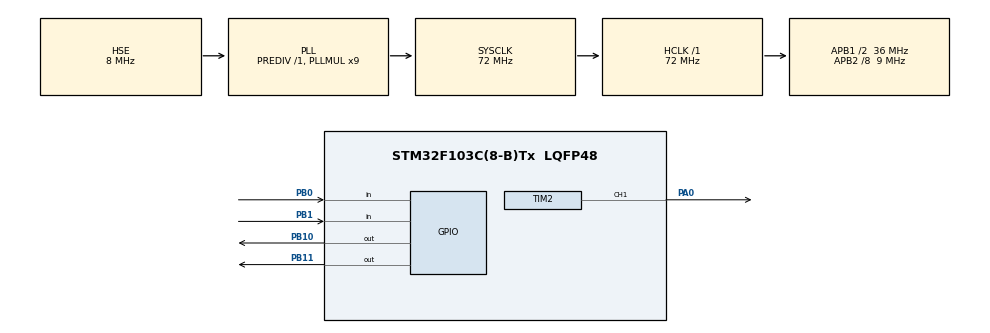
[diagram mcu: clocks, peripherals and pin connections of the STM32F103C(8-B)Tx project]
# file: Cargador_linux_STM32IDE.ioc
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Mcu.Family=STM32F1
Mcu.Name=STM32F103C(8-B)Tx
Mcu.Package=LQFP48
NVIC.PriorityGroup=NVIC_PRIORITYGROUP_4
NVIC.TIM2_IRQn=true\:0\:0\:false\:false\:true\:true\:true
PA0-WKUP.GPIO_ModeDefaultPP=GPIO_MODE_AF_PP
PA0-WKUP.GPIO_Speed=GPIO_SPEED_FREQ_LOW
PA0-WKUP.Signal=S_TIM2_CH1_ETR
PA13.Mode=Serial_Wire
PA13.Signal=SYS_JTMS-SWDIO
PA14.Mode=Serial_Wire
PA14.Signal=SYS_JTCK-SWCLK
PB0.GPIO_PuPd=GPIO_PULLUP
PB0.Signal=GPIO_Input
PB1.GPIO_PuPd=GPIO_PULLUP
PB1.Signal=GPIO_Input
PB10.Signal=GPIO_Output
PB11.Signal=GPIO_Output
PD0-OSC_IN.Mode=HSE-External-Oscillator
PD0-OSC_IN.Signal=RCC_OSC_IN
PD1-OSC_OUT.Mode=HSE-External-Oscillator
PD1-OSC_OUT.Signal=RCC_OSC_OUT
ProjectManager.HeapSize=0x200
ProjectManager.StackSize=0x400
ProjectManager.TargetToolchain=STM32CubeIDE
RCC.AHBFreq_Value=72000000
RCC.APB1CLKDivider=RCC_HCLK_DIV2
RCC.APB1Freq_Value=36000000
RCC.APB1TimFreq_Value=72000000
RCC.APB2CLKDivider=RCC_HCLK_DIV8
RCC.APB2Freq_Value=9000000
RCC.APB2TimFreq_Value=18000000
RCC.HCLKFreq_Value=72000000
RCC.PLLMUL=RCC_PLL_MUL9
RCC.PLLSourceVirtual=RCC_PLLSOURCE_HSE
RCC.SYSCLKFreq_VALUE=72000000
RCC.SYSCLKSource=RCC_SYSCLKSOURCE_PLLCLK
RCC.USBFreq_Value=72000000
SH.S_TIM2_CH1_ETR.0=TIM2_CH1,PWM Generation1 CH1
TIM2.AutoReloadPreload=TIM_AUTORELOAD_PRELOAD_DISABLE
TIM2.Channel-PWM\ Generation1\ CH1=TIM_CHANNEL_1
TIM2.OCFastMode_PWM-PWM\ Generation1\ CH1=TIM_OCFAST_ENABLE
TIM2.Period=4-1
TIM2.Prescaler=18-1
TIM2.Pulse-PWM\ Generation1\ CH1=2
VP_TIM2_VS_ClockSourceINT.Mode=Internal
board=custom

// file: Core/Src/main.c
/* USER CODE BEGIN Header */
/**
  ******************************************************************************
  * @file           : main.c
  * @brief          : Main program body
  ******************************************************************************
  * @attention
  *
  * <h2><center>&copy; Copyright (c) 2020 STMicroelectronics.
  * All rights reserved.</center></h2>
  *
  * This software component is licensed by ST under BSD 3-Clause license,
  * the "License"; You may not use this file except in compliance with the
  * License. You may obtain a copy of the License at:
  *                        opensource.org/licenses/BSD-3-Clause
  *
  ******************************************************************************
  */
/* USER CODE END Header */

#include "main.h"

/* USER CODE BEGIN PD */
#define FREC_LED		  1000
#define FREC_OUT		  1
/* USER CODE END PD */

TIM_HandleTypeDef htim2;

/* USER CODE BEGIN PV */
uint8_t s_efecto_hall;
uint8_t s_ired;
int demora_led = FREC_LED;	// periodo de parpadeo del led de estado
int signal = FREC_OUT;			// periodo de la señal de salida
int flag_pwm = 0;				//flag que indica el estado del generador de señal (1=andando; 0=detenido).
/* USER CODE END PV */

void SystemClock_Config(void);
static void MX_GPIO_Init(void);
static void MX_TIM2_Init(void);
/* USER CODE BEGIN PFP */
//SysTick_Handler(); descomentar para poder modificarla (decrementa el contador de "delay")
/* USER CODE END PFP */

int main(void)
{

  /* MCU Configuration--------------------------------------------------------*/

  /* Reset of all peripherals, Initializes the Flash interface and the Systick. */
  HAL_Init();

  /* Configure the system clock */
  SystemClock_Config();

  /* Initialize all configured peripherals */
  MX_GPIO_Init();
  MX_TIM2_Init();
  /* USER CODE BEGIN 2 */
  HAL_GPIO_WritePin(GPIOB, GPIO_PIN_10, 1);
  HAL_GPIO_WritePin(GPIOB, GPIO_PIN_11, 1);
  HAL_TIM_Base_Start_IT(&htim2);	//Inicializa la base de tiempo del TIMER, deja listo para andar
  HAL_TIM_PWM_Start(&htim2, TIM_CHANNEL_1);
  /* USER CODE END 2 */

  /* Infinite loop */
  while (1)
  {

    /* USER CODE BEGIN 3 */
		 s_efecto_hall = HAL_GPIO_ReadPin(GPIOB, GPIO_PIN_0);
		 s_ired = HAL_GPIO_ReadPin(GPIOB, GPIO_PIN_1);

		 if (s_efecto_hall == 0)
		 {
		  switch (s_ired)
		 	  {
		 	  case 0:

		 		 if (demora_led == 0) // cuando se termina el"delay" hay que volver a cargar el estado y toglear
		 		 		 	 	{
		 		 		 	 		 demora_led = FREC_LED; //carga el tiempo de demora
		 		 		 	 		 HAL_GPIO_TogglePin(GPIOB, GPIO_PIN_10);

		 		 		 	 	}
		 		 if (flag_pwm == 0)//si se encuentra apagada la salida de señal
		 		 {
		 			HAL_TIM_PWM_Start(&htim2, TIM_CHANNEL_1);//la enciende,
		 			flag_pwm = 1;//y levanta el flag.
		 		 }
	//	 		 		 if (signal == 0)
	//	 		 		 	 	 {
	//	 		 			 	 	 signal = FREC_OUT; //carga el tiempo de demora correspondiente
	//	 		 			 		 HAL_GPIO_TogglePin(GPIOB, GPIO_PIN_11);
	//	 		 		 	 	 }

		 		break;

		 	  case 1:	//Bateria conectada
		 		  if (flag_pwm == 1)//si se encuentra encendida la salida de señal.
		 		  {
		 			  //HAL_TIM_PWM_Stop(&htim2, TIM_CHANNEL_1);//la apaga,
		 			  flag_pwm = 0;//y baja el flag.
		 		  }

		 		HAL_GPIO_WritePin(GPIOB, GPIO_PIN_10, 0);
		 		HAL_GPIO_WritePin(GPIOB, GPIO_PIN_11, 1);

		 	   break;
		 	  }

		 	  }
		 else
		 {
			 HAL_GPIO_WritePin(GPIOB, GPIO_PIN_10, 1);
			 HAL_GPIO_WritePin(GPIOB, GPIO_PIN_11, 1);
		 }
  }
  /* USER CODE END 3 */
}

void SystemClock_Config(void)
{
  RCC_OscInitTypeDef RCC_OscInitStruct = {0};
  RCC_ClkInitTypeDef RCC_ClkInitStruct = {0};

  /** Initializes the CPU, AHB and APB busses clocks
  */
  RCC_OscInitStruct.OscillatorType = RCC_OSCILLATORTYPE_HSE;
  RCC_OscInitStruct.HSEState = RCC_HSE_ON;
  RCC_OscInitStruct.HSEPredivValue = RCC_HSE_PREDIV_DIV1;
  RCC_OscInitStruct.HSIState = RCC_HSI_ON;
  RCC_OscInitStruct.PLL.PLLState = RCC_PLL_ON;
  RCC_OscInitStruct.PLL.PLLSource = RCC_PLLSOURCE_HSE;
  RCC_OscInitStruct.PLL.PLLMUL = RCC_PLL_MUL9;
  if (HAL_RCC_OscConfig(&RCC_OscInitStruct) != HAL_OK)
  {
    Error_Handler();
  }
  /** Initializes the CPU, AHB and APB busses clocks
  */
  RCC_ClkInitStruct.ClockType = RCC_CLOCKTYPE_HCLK|RCC_CLOCKTYPE_SYSCLK
                              |RCC_CLOCKTYPE_PCLK1|RCC_CLOCKTYPE_PCLK2;
  RCC_ClkInitStruct.SYSCLKSource = RCC_SYSCLKSOURCE_PLLCLK;
  RCC_ClkInitStruct.AHBCLKDivider = RCC_SYSCLK_DIV1;
  RCC_ClkInitStruct.APB1CLKDivider = RCC_HCLK_DIV2;
  RCC_ClkInitStruct.APB2CLKDivider = RCC_HCLK_DIV8;

  if (HAL_RCC_ClockConfig(&RCC_ClkInitStruct, FLASH_LATENCY_2) != HAL_OK)
  {
    Error_Handler();
  }
}

static void MX_TIM2_Init(void)
{

  TIM_ClockConfigTypeDef sClockSourceConfig = {0};
  TIM_MasterConfigTypeDef sMasterConfig = {0};
  TIM_OC_InitTypeDef sConfigOC = {0};

  htim2.Instance = TIM2;
  htim2.Init.Prescaler = 18-1;
  htim2.Init.CounterMode = TIM_COUNTERMODE_UP;
  htim2.Init.Period = 4-1;
  htim2.Init.ClockDivision = TIM_CLOCKDIVISION_DIV1;
  htim2.Init.AutoReloadPreload = TIM_AUTORELOAD_PRELOAD_DISABLE;
  if (HAL_TIM_Base_Init(&htim2) != HAL_OK)
  {
    Error_Handler();
  }
  sClockSourceConfig.ClockSource = TIM_CLOCKSOURCE_INTERNAL;
  if (HAL_TIM_ConfigClockSource(&htim2, &sClockSourceConfig) != HAL_OK)
  {
    Error_Handler();
  }
  if (HAL_TIM_PWM_Init(&htim2) != HAL_OK)
  {
    Error_Handler();
  }
  sMasterConfig.MasterOutputTrigger = TIM_TRGO_RESET;
  sMasterConfig.MasterSlaveMode = TIM_MASTERSLAVEMODE_DISABLE;
  if (HAL_TIMEx_MasterConfigSynchronization(&htim2, &sMasterConfig) != HAL_OK)
  {
    Error_Handler();
  }
  sConfigOC.OCMode = TIM_OCMODE_PWM1;
  sConfigOC.Pulse = 2;
  sConfigOC.OCPolarity = TIM_OCPOLARITY_HIGH;
  sConfigOC.OCFastMode = TIM_OCFAST_ENABLE;
  if (HAL_TIM_PWM_ConfigChannel(&htim2, &sConfigOC, TIM_CHANNEL_1) != HAL_OK)
  {
    Error_Handler();
  }
  HAL_TIM_MspPostInit(&htim2);

}

static void MX_GPIO_Init(void)
{
  GPIO_InitTypeDef GPIO_InitStruct = {0};

  /* GPIO Ports Clock Enable */
  __HAL_RCC_GPIOD_CLK_ENABLE();
  __HAL_RCC_GPIOA_CLK_ENABLE();
  __HAL_RCC_GPIOB_CLK_ENABLE();

  /*Configure GPIO pin Output Level */
  HAL_GPIO_WritePin(GPIOB, GPIO_PIN_10|GPIO_PIN_11, GPIO_PIN_RESET);

  /*Configure GPIO pins : PB0 PB1 */
  GPIO_InitStruct.Pin = GPIO_PIN_0|GPIO_PIN_1;
  GPIO_InitStruct.Mode = GPIO_MODE_INPUT;
  GPIO_InitStruct.Pull = GPIO_PULLUP;
  HAL_GPIO_Init(GPIOB, &GPIO_InitStruct);

  /*Configure GPIO pins : PB10 PB11 */
  GPIO_InitStruct.Pin = GPIO_PIN_10|GPIO_PIN_11;
  GPIO_InitStruct.Mode = GPIO_MODE_OUTPUT_PP;
  GPIO_InitStruct.Pull = GPIO_NOPULL;
  GPIO_InitStruct.Speed = GPIO_SPEED_FREQ_LOW;
  HAL_GPIO_Init(GPIOB, &GPIO_InitStruct);

}

/* USER CODE BEGIN 4 */
void HAL_TIM_PeriodElapsedCallback(TIM_HandleTypeDef *htim)
{
	/*
	extern int signal;

		if (signal > 0)
		{
			signal --;

		}
		*/
}
/* USER CODE END 4 */

void Error_Handler(void)
{
}

/************************ (C) COPYRIGHT STMicroelectronics *****END OF FILE****/
